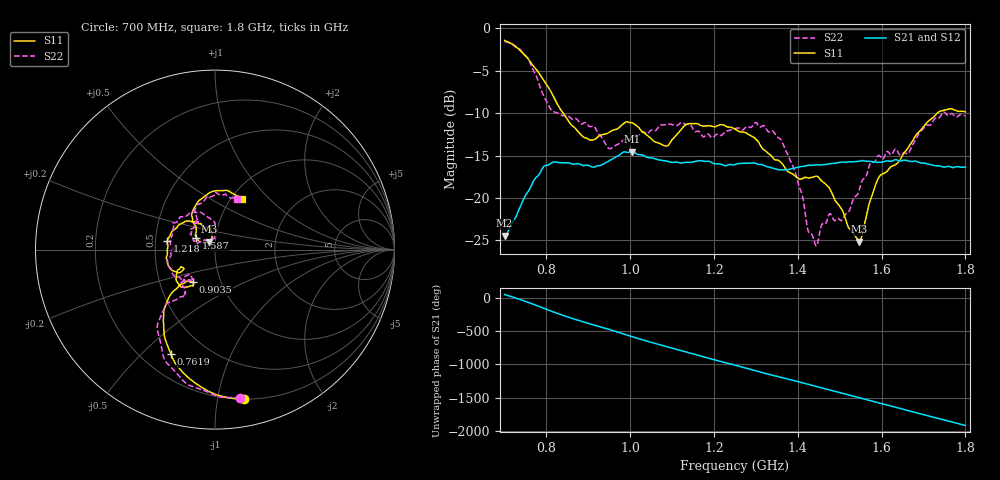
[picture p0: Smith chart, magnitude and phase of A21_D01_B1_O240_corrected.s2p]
! Created with skrf 1.9.0 (http://scikit-rf.org).
# Hz S RI R 50.0
!freq ReS11 ImS11 ReS21 ImS21 ReS12 ImS12 ReS22 ImS22
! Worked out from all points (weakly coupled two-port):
!   1601 points, 700 MHz to 1.8 GHz, reference 50 ohm
!   highest |S21| = -14.53 dB at 1.004 GHz (marker M1); lowest = -24.5 dB at 700 MHz (marker M2)
!   lowest |S11| = -25.2 dB at 1.547 GHz (marker M3), VSWR 1.12, Z = 46.6 + j4.08 ohm
!   |S11| at or under -10 dB: 839.5 MHz to 1.733 GHz (893.2 MHz wide, 69.5 % of centre)
!   |S22| runs from -25.7 to -1.5 dB; largest |S21 - S12| = 0.0037
!   S11 on the Smith chart (normalised r, x): 700 MHz: 0.20, -1.19; 761.9 MHz: 0.32, -0.62; 903.5 MHz: 0.73, -0.28; 1.218 GHz: 0.58, +0.06; 1.587 GHz: 0.81, +0.11; 1.8 GHz: 1.12, +0.71
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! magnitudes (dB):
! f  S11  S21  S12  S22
! 700 MHz  -1.4  -24.5  -24.2  -1.5
! 761.9 MHz  -4.0  -18.8  -18.7  -4.2
! 811.4 MHz  -7.5  -15.9  -15.8  -9.6
! 883.6 MHz  -12.6  -16.1  -16.0  -11.3
! 903.5 MHz  -13.2  -16.2  -16.2  -11.6
! 950.2 MHz  -12.2  -15.6  -15.6  -14.2
! 1.004 GHz  -11.1  -14.5  -14.7  -12.9
! 1.067 GHz  -13.5  -15.5  -15.4  -11.6
! 1.138 GHz  -11.3  -15.8  -15.8  -11.2
! 1.218 GHz  -11.4  -16.0  -16.1  -12.6
! 1.25 GHz  -11.9  -16.1  -16.0  -11.8
! 1.3 GHz  -13.1  -15.9  -15.9  -11.1
! 1.359 GHz  -15.8  -16.7  -16.7  -13.1
! 1.393 GHz  -17.4  -16.5  -16.5  -16.8
! 1.434 GHz  -17.6  -16.2  -16.1  -24.3
! 1.506 GHz  -21.5  -15.8  -15.8  -22.6
! 1.547 GHz  -25.2  -15.7  -15.6  -19.0
! 1.587 GHz  -18.3  -15.8  -15.8  -15.5
! 1.617 GHz  -16.6  -15.7  -15.6  -14.6
! 1.663 GHz  -14.1  -15.6  -15.6  -14.8
! 1.735 GHz  -9.9  -16.2  -16.3  -10.6
! 1.8 GHz  -9.8  -16.4  -16.4  -10.3
